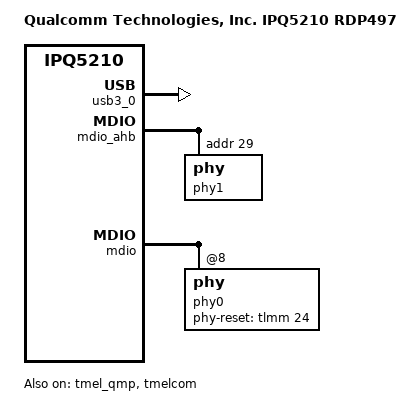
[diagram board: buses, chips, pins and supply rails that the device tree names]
// SPDX-License-Identifier: GPL-2.0-only
/*
 * Copyright (c) Qualcomm Technologies, Inc. and/or its subsidiaries.
 */

/dts-v1/;

#include "ipq5210-u-boot.dtsi"

/ {
	model = "Qualcomm Technologies, Inc. IPQ5210 RDP497";
	compatible = "qcom,ipq5210-rdp497", "qcom,ipq5210";

	aliases {
		serial0 = &uart1;
	};

	soc@0 {
		qmp_ssphy_0: ssphy@7D000 {
			status = "okay";
		};

		qusb2_phy_0: qusb2_0@7B000 {
			status = "okay";
		};

		usb3_0: usb3_0@8af8800 {
			status = "okay";
		};

		mdio_ahb: mdio-ahb@1400000 {
			phy1: phy@29 {
				reg = <29 0>;
				phy_addr = <29>;
				phy_type = <INTERNAL_PHY_TYPE>;
				id = <4>;
				uniphy_id = <0xFF>;
				uniphy_type = <1>;

				clocks = <&nsscc NSS_CC_EPHY_RX_CLK>,
					 <&nsscc NSS_CC_EPHY_TX_CLK>,
					 <&gcc GCC_GEPHY_SYS_CLK>;
				clock-names = "ephy_rx_clk",
					      "ephy_tx_clk",
					      "sys_clk";

				resets = <&nsscc NSS_CC_EPHY_RX_CLK_ARES>,
					 <&nsscc NSS_CC_EPHY_TX_CLK_ARES>,
					 <&gcc GCC_GEPHY_SYS_CLK_ARES>;
				reset-names = "ephy_rx_reset",
					      "ephy_tx_reset",
					      "sys_clk_reset";

				qcom,ldo-bias-reg = <0x1961000>;
				qcom,pll-src-sel-reg = <0x9B42c>;
				qcom,ephy-rx-mux-reg = <0x39B00610 0x0>;
				qcom,ephy-tx-mux-reg = <0x39B00614 0x0>;
			};
		};

		mdio: mdio@90000 {
			status = "okay";
			clk_div = /bits/ 8 <31>;
			phy0: phy@8 {
				phy-reset-gpio = <&tlmm 24 0>;
				phy_addr = <8>;
				phy_type = <QCA81xx_PHY_TYPE>;
				id = <1>;
				uniphy_id = <0>;
				uniphy_type = <0>;
				xgmac;
			};
		};

		ess_instance: ess-instance {
			pinctrl-names = "default";
			pinctrl-0 = <&phy_rst_pinmux>;
			phy-handle0 = <&phy0>;
			phy-handle1 = <&phy1>;
			status = "okay";
		};
	};
};

&tlmm {
	phy_rst_pinmux: phy_rst {
		qti_laguna0_rst {
			pins = "gpio24";
			function = "gpio";
			drive-strength = <2>;
			bias-pull-up;
			output-high;
		};
	};

	spi0 {
		spi0_sclk {
			pins = "gpio6";
			function = "qup_se0_l2";
			drive-strength = <6>;
			bias-pull-down;
		};

		spi0_cs0 {
			pins = "gpio7";
			function = "qup_se0_l3";
			drive-strength = <6>;
			bias-pull-up;
		};

		spi0_miso {
			pins = "gpio8";
			function = "qup_se0_l0";
			drive-strength = <6>;
			bias-pull-down;
		};

		spi0_mosi {
			pins = "gpio9";
			function = "qup_se0_l1";
			drive-strength = <6>;
			bias-pull-down;
		};
	};

	mdio_pins: mdio-state {
		mux_0 {
			pins = "gpio26";
			function = "mdc_mst";
			drive-strength = <4>;
			bias-pull-up;
		};

		mux_1 {
			pins = "gpio27";
			function = "mdio_mst";
			drive-strength = <4>;
			bias-pull-up;
		};
	};
};

&tmel_qmp {
	status = "okay";
};

&tmelcom {
	status = "okay";
};
